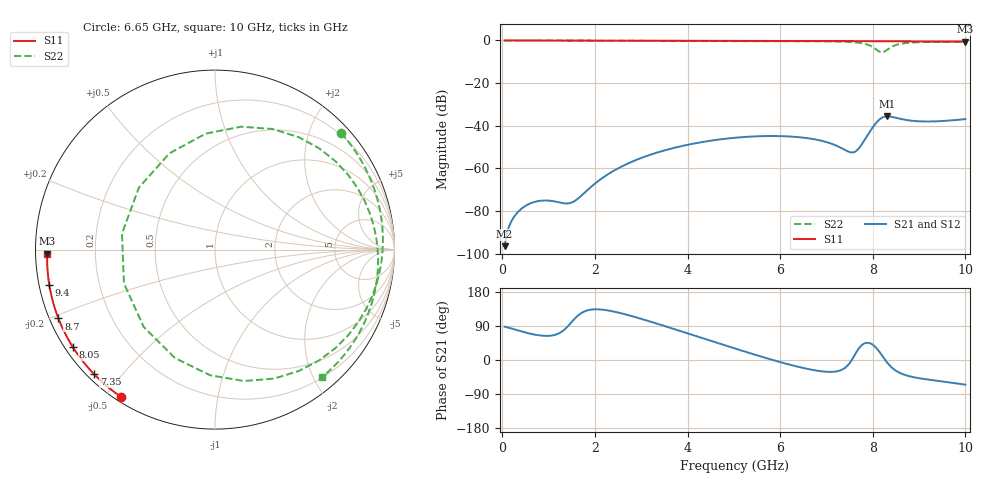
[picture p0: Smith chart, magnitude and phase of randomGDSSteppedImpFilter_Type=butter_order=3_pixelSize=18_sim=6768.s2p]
! freq	dB(S11)	phase(S11)	dB(S12)	phase(S12)
!  dB(S21)	phase(S21)	dB(S22)	phase(S22)
!S-par simulation data
#  GHz  S  DB  R 50
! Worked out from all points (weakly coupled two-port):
!   200 points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, 50 MHz to 10 GHz, reference 50 ohm
!   highest |S21| = -35.64 dB at 8.3 GHz (marker M1); lowest = -96.5 dB at 50 MHz (marker M2)
!   lowest |S11| = -0.6 dB at 10 GHz (marker M3), VSWR 29.95, Z = 1.67 - j0.611 ohm
!   |S11| at or under -10 dB: nowhere
!   |S22| runs from -5.6 to 0.0 dB; largest |S21 - S12| = 0
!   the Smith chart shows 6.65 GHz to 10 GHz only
!   S11 on the Smith chart (normalised r, x): 6.65 GHz: 0.02, -0.55; 7.35 GHz: 0.02, -0.42; 8.05 GHz: 0.02, -0.31; 8.7 GHz: 0.03, -0.21; 9.4 GHz: 0.03, -0.10; 10 GHz: 0.03, -0.01
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0.05  -0.00 -1.0  -96.55 88.2  -96.55 88.2  -0.00 -2.8
0.95  -0.02 -19.3  -75.11 63.6  -75.11 63.6  -0.07 -50.8
1.45  -0.04 -29.3  -76.38 93.5  -76.38 93.5  -0.09 -76.3
1.75  -0.04 -35.3  -72.00 126.8  -72.00 126.8  -0.11 -91.0
2.45  -0.06 -48.9  -60.63 126.7  -60.63 126.7  -0.14 -123.7
3.4  -0.09 -66.7  -52.24 93.7  -52.24 93.7  -0.18 -165.8
4.2  -0.11 -81.2  -48.12 62.5  -48.12 62.5  -0.22 159.3
5.05  -0.15 -96.0  -45.62 29.4  -45.62 29.4  -0.27 121.2
5.85  -0.19 -109.5  -44.84 -0.3  -44.84 -0.3  -0.31 83.5
6.65  -0.24 -122.7  -46.05 -25.0  -46.05 -25.0  -0.38 42.8
6.7  -0.24 -123.5  -46.23 -26.1  -46.23 -26.1  -0.39 40.1
7.35  -0.29 -134.1  -50.81 -24.7  -50.81 -24.7  -0.59 0.1
7.75  -0.32 -140.6  -49.16 37.9  -49.16 37.9  -1.24 -39.3
7.95  -0.34 -143.9  -42.38 43.8  -42.38 43.8  -2.50 -77.5
8.05  -0.35 -145.5  -39.31 35.1  -39.31 35.1  -3.82 -110.2
8.2  -0.37 -148.0  -36.25 11.7  -36.25 11.7  -5.58 170.3
8.3  -0.38 -149.6  -35.64 -5.2  -35.64 -5.2  -4.53 115.4
8.35  -0.38 -150.5  -35.67 -12.5  -35.67 -12.5  -3.76 94.6
8.5  -0.40 -152.9  -36.30 -28.3  -36.30 -28.3  -2.15 53.4
8.7  -0.42 -156.3  -37.24 -39.7  -37.24 -39.7  -1.26 23.3
9.4  -0.50 -168.1  -37.93 -55.0  -37.93 -55.0  -0.67 -25.2
10  -0.58 -178.6  -36.86 -65.0  -36.86 -65.0  -0.65 -49.8
